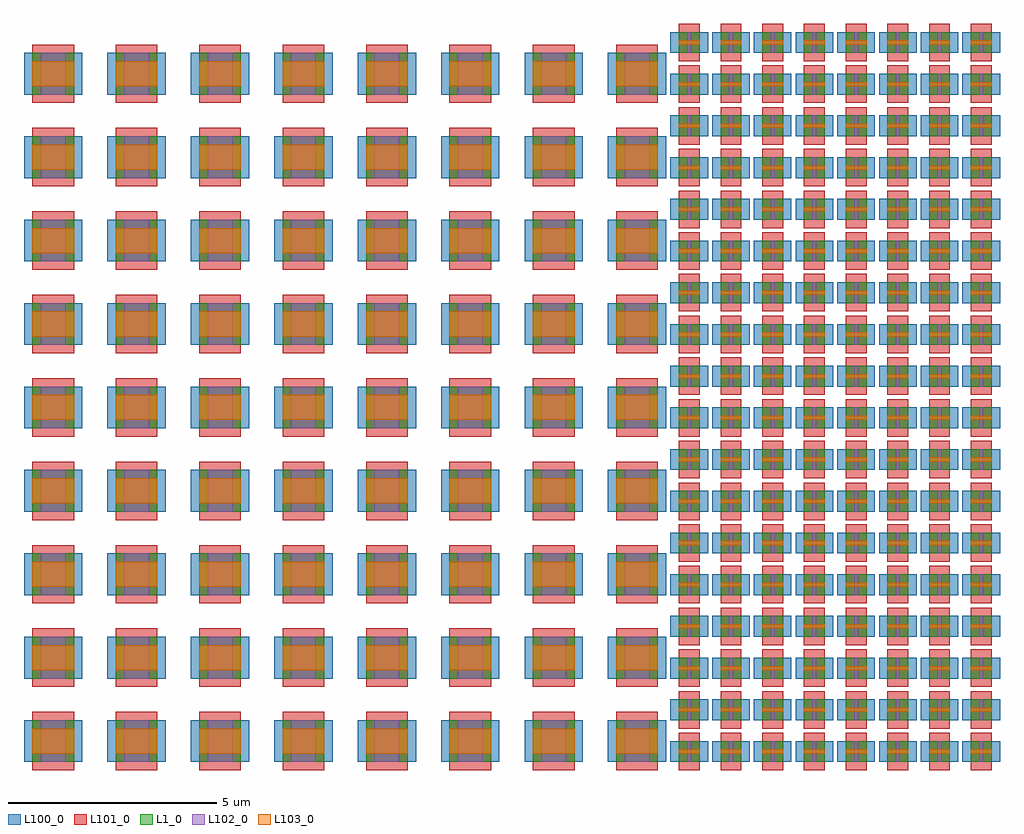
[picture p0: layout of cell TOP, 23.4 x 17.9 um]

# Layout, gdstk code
from math import pi, radians
import gdstk
lib = gdstk.Library(unit=1e-6, precision=1e-09)
def R(c, l, rs):  # rectangles x0, y0, x1, y1
    for r in rs: c.add(gdstk.rectangle(r[:2], r[2:], *l))
def A(c, l, x, y, w, h, nx, ny, dx, dy):  # array of equal rectangles
    R(c, l, [(x+i*dx, y+j*dy, x+i*dx+w, y+j*dy+h) for i in range(nx) for j in range(ny)])
L1_0 = (1, 0)
L100_0 = (100, 0)
L101_0 = (101, 0)
L102_0 = (102, 0)
L103_0 = (103, 0)

c_c1 = lib.new_cell('C1')
R(c_c1, L1_0, [(0,0,1,1), (0,2,1,3)])
c_c1.add(gdstk.Label('C1', (0.4,1.4), layer=1, texttype=0))

c_c2 = lib.new_cell('C2')
R(c_c2, L1_0, [(0,0,2,2), (0,4,2,6)])
c_c2.add(gdstk.Label('C2', (0.8,2.8), layer=1, texttype=0))

c_c4 = lib.new_cell('C4')
R(c_c4, L1_0, [(0,0,4,4), (0,8,4,12)])
c_c4.add(gdstk.Label('C4', (2,6), layer=1, texttype=0))

cc1 = lib.new_cell('CC1')
R(cc1, L1_0, [(4,4,5,5), (4,6,5,7)])
cc1.add(gdstk.Reference(c_c1, (0,0)))
cc1.add(gdstk.Reference(c_c1, (0,4)))
cc1.add(gdstk.Reference(c_c1, (6,4)))
cc1.add(gdstk.Reference(c_c1, (6,0)))
cc1.add(gdstk.Reference(c_c2, (2,0), magnification=0.5))
cc1.add(gdstk.Reference(c_c4, (4,0), magnification=0.25))
cc1.add(gdstk.Reference(c_c4, (2,4), magnification=0.25))
cc1.add(gdstk.Label('CC1', (3.4,3.4), layer=1, texttype=0))

cc2 = lib.new_cell('CC2')
A(cc2, L1_0, 0, 16, 1, 1, 8, 1, 2, 0)
cc2.add(gdstk.Reference(cc1, (0,0)))
cc2.add(gdstk.Reference(cc1, (0,8)))
cc2.add(gdstk.Reference(cc1, (15,0), rotation=pi, x_reflection=True))
cc2.add(gdstk.Reference(cc1, (15,15), rotation=3*pi/2, x_reflection=True))

c1_1 = lib.new_cell('C1$1')
R(c1_1, L100_0, [(-0.4,0,1.4,1), (-0.4,2,1.4,3)])
R(c1_1, L101_0, [(0,-0.4,1,1.4), (0,1.6,1,3.4)])
R(c1_1, L102_0, [(0.4,0,0.6,1), (0.4,2,0.6,3)])
R(c1_1, L103_0, [(0,0.4,1,0.6), (0,2.4,1,2.6)])

c2_1 = lib.new_cell('C2$1')
R(c2_1, L100_0, [(-0.8,0,2.8,2), (-0.8,4,2.8,6)])
R(c2_1, L101_0, [(0,-0.8,2,2.8), (0,3.2,2,6.8)])
R(c2_1, L102_0, [(0.8,0,1.2,2), (0.8,4,1.2,6)])
R(c2_1, L103_0, [(0,0.8,2,1.2), (0,4.8,2,5.2)])

c4_1 = lib.new_cell('C4$1')
R(c4_1, L100_0, [(-1.6,0,5.6,4), (-1.6,8,5.6,12)])
R(c4_1, L101_0, [(0,-1.6,4,5.6), (0,6.4,4,13.6)])
R(c4_1, L102_0, [(1.6,0,2.4,4), (1.6,8,2.4,12)])
R(c4_1, L103_0, [(0,1.6,4,2.4), (0,9.6,4,10.4)])

cc1_1 = lib.new_cell('CC1$1')
R(cc1_1, L100_0, [(3.6,4,5.4,5), (3.6,6,5.4,7)])
R(cc1_1, L101_0, [(4,3.6,5,5.4), (4,5.6,5,7.4)])
R(cc1_1, L102_0, [(4.4,4,4.6,5), (4.4,6,4.6,7)])
R(cc1_1, L103_0, [(4,4.4,5,4.6), (4,6.4,5,6.6)])
cc1_1.add(gdstk.Reference(c1_1, (0,0)))
cc1_1.add(gdstk.Reference(c1_1, (0,4)))
cc1_1.add(gdstk.Reference(c1_1, (6,4)))
cc1_1.add(gdstk.Reference(c1_1, (6,0)))
cc1_1.add(gdstk.Reference(c2_1, (2,0), magnification=0.5))
cc1_1.add(gdstk.Reference(c4_1, (4,0), magnification=0.25))
cc1_1.add(gdstk.Reference(c4_1, (2,4), magnification=0.25))

c4_var2 = lib.new_cell('C4$VAR2')
R(c4_var2, L100_0, [(0,-1.6,4,5.6), (0,6.4,4,13.6)])
R(c4_var2, L101_0, [(-1.6,0,5.6,4), (-1.6,8,5.6,12)])
R(c4_var2, L102_0, [(0,1.6,4,2.4), (0,9.6,4,10.4)])
R(c4_var2, L103_0, [(1.6,0,2.4,4), (1.6,8,2.4,12)])

c2_var2 = lib.new_cell('C2$VAR2')
R(c2_var2, L100_0, [(0,-0.8,2,2.8), (0,3.2,2,6.8)])
R(c2_var2, L101_0, [(-0.8,0,2.8,2), (-0.8,4,2.8,6)])
R(c2_var2, L102_0, [(0,0.8,2,1.2), (0,4.8,2,5.2)])
R(c2_var2, L103_0, [(0.8,0,1.2,2), (0.8,4,1.2,6)])

c1_var2 = lib.new_cell('C1$VAR2')
R(c1_var2, L100_0, [(0,-0.4,1,1.4), (0,1.6,1,3.4)])
R(c1_var2, L101_0, [(-0.4,0,1.4,1), (-0.4,2,1.4,3)])
R(c1_var2, L102_0, [(0,0.4,1,0.6), (0,2.4,1,2.6)])
R(c1_var2, L103_0, [(0.4,0,0.6,1), (0.4,2,0.6,3)])

cc1_var2 = lib.new_cell('CC1$VAR2')
R(cc1_var2, L100_0, [(4,3.6,5,5.4), (4,5.6,5,7.4)])
R(cc1_var2, L101_0, [(3.6,4,5.4,5), (3.6,6,5.4,7)])
R(cc1_var2, L102_0, [(4,4.4,5,4.6), (4,6.4,5,6.6)])
R(cc1_var2, L103_0, [(4.4,4,4.6,5), (4.4,6,4.6,7)])
cc1_var2.add(gdstk.Reference(c4_var2, (4,0), magnification=0.25))
cc1_var2.add(gdstk.Reference(c4_var2, (2,4), magnification=0.25))
cc1_var2.add(gdstk.Reference(c2_var2, (2,0), magnification=0.5))
cc1_var2.add(gdstk.Reference(c1_var2, (0,0)))
cc1_var2.add(gdstk.Reference(c1_var2, (0,4)))
cc1_var2.add(gdstk.Reference(c1_var2, (6,4)))
cc1_var2.add(gdstk.Reference(c1_var2, (6,0)))

cc2_1 = lib.new_cell('CC2$1')
A(cc2_1, L100_0, -0.4, 16, 1.8, 1, 8, 1, 2, 0)
A(cc2_1, L101_0, 0, 15.6, 1, 1.8, 8, 1, 2, 0)
A(cc2_1, L102_0, 0.4, 16, 0.2, 1, 8, 1, 2, 0)
A(cc2_1, L103_0, 0, 16.4, 1, 0.2, 8, 1, 2, 0)
cc2_1.add(gdstk.Reference(cc1_1, (0,0)))
cc2_1.add(gdstk.Reference(cc1_1, (0,8)))
cc2_1.add(gdstk.Reference(cc1_1, (15,0), rotation=pi, x_reflection=True))
cc2_1.add(gdstk.Reference(cc1_var2, (15,15), rotation=3*pi/2, x_reflection=True))

c4_var1 = lib.new_cell('C4$VAR1')
R(c4_var1, L100_0, [(-0.8,0,4.8,4), (-0.8,8,4.8,12)])
R(c4_var1, L101_0, [(0,-0.8,4,4.8), (0,7.2,4,12.8)])
R(c4_var1, L102_0, [(0.8,0,3.2,4), (0.8,8,3.2,12)])
R(c4_var1, L103_0, [(0,0.8,4,3.2), (0,8.8,4,11.2)])

c2_var1 = lib.new_cell('C2$VAR1')
R(c2_var1, L100_0, [(-0.4,0,2.4,2), (-0.4,4,2.4,6)])
R(c2_var1, L101_0, [(0,-0.4,2,2.4), (0,3.6,2,6.4)])
R(c2_var1, L102_0, [(0.4,0,1.6,2), (0.4,4,1.6,6)])
R(c2_var1, L103_0, [(0,0.4,2,1.6), (0,4.4,2,5.6)])

c1_var1 = lib.new_cell('C1$VAR1')
R(c1_var1, L100_0, [(-0.2,0,1.2,1), (-0.2,2,1.2,3)])
R(c1_var1, L101_0, [(0,-0.2,1,1.2), (0,1.8,1,3.2)])
R(c1_var1, L102_0, [(0.2,0,0.8,1), (0.2,2,0.8,3)])
R(c1_var1, L103_0, [(0,0.2,1,0.8), (0,2.2,1,2.8)])

cc1_var1 = lib.new_cell('CC1$VAR1')
R(cc1_var1, L100_0, [(3.8,4,5.2,5), (3.8,6,5.2,7)])
R(cc1_var1, L101_0, [(4,3.8,5,5.2), (4,5.8,5,7.2)])
R(cc1_var1, L102_0, [(4.2,4,4.8,5), (4.2,6,4.8,7)])
R(cc1_var1, L103_0, [(4,4.2,5,4.8), (4,6.2,5,6.8)])
cc1_var1.add(gdstk.Reference(c4_var1, (4,0), magnification=0.25))
cc1_var1.add(gdstk.Reference(c4_var1, (2,4), magnification=0.25))
cc1_var1.add(gdstk.Reference(c2_var1, (2,0), magnification=0.5))
cc1_var1.add(gdstk.Reference(c1_var1, (0,0)))
cc1_var1.add(gdstk.Reference(c1_var1, (0,4)))
cc1_var1.add(gdstk.Reference(c1_var1, (6,4)))
cc1_var1.add(gdstk.Reference(c1_var1, (6,0)))

c4_var3 = lib.new_cell('C4$VAR3')
R(c4_var3, L100_0, [(0,-0.8,4,4.8), (0,7.2,4,12.8)])
R(c4_var3, L101_0, [(-0.8,0,4.8,4), (-0.8,8,4.8,12)])
R(c4_var3, L102_0, [(0,0.8,4,3.2), (0,8.8,4,11.2)])
R(c4_var3, L103_0, [(0.8,0,3.2,4), (0.8,8,3.2,12)])

c2_var3 = lib.new_cell('C2$VAR3')
R(c2_var3, L100_0, [(0,-0.4,2,2.4), (0,3.6,2,6.4)])
R(c2_var3, L101_0, [(-0.4,0,2.4,2), (-0.4,4,2.4,6)])
R(c2_var3, L102_0, [(0,0.4,2,1.6), (0,4.4,2,5.6)])
R(c2_var3, L103_0, [(0.4,0,1.6,2), (0.4,4,1.6,6)])

c1_var3 = lib.new_cell('C1$VAR3')
R(c1_var3, L100_0, [(0,-0.2,1,1.2), (0,1.8,1,3.2)])
R(c1_var3, L101_0, [(-0.2,0,1.2,1), (-0.2,2,1.2,3)])
R(c1_var3, L102_0, [(0,0.2,1,0.8), (0,2.2,1,2.8)])
R(c1_var3, L103_0, [(0.2,0,0.8,1), (0.2,2,0.8,3)])

cc1_var3 = lib.new_cell('CC1$VAR3')
R(cc1_var3, L100_0, [(4,3.8,5,5.2), (4,5.8,5,7.2)])
R(cc1_var3, L101_0, [(3.8,4,5.2,5), (3.8,6,5.2,7)])
R(cc1_var3, L102_0, [(4,4.2,5,4.8), (4,6.2,5,6.8)])
R(cc1_var3, L103_0, [(4.2,4,4.8,5), (4.2,6,4.8,7)])
cc1_var3.add(gdstk.Reference(c4_var3, (4,0), magnification=0.25))
cc1_var3.add(gdstk.Reference(c4_var3, (2,4), magnification=0.25))
cc1_var3.add(gdstk.Reference(c2_var3, (2,0), magnification=0.5))
cc1_var3.add(gdstk.Reference(c1_var3, (0,0)))
cc1_var3.add(gdstk.Reference(c1_var3, (0,4)))
cc1_var3.add(gdstk.Reference(c1_var3, (6,4)))
cc1_var3.add(gdstk.Reference(c1_var3, (6,0)))

cc2_var1 = lib.new_cell('CC2$VAR1')
A(cc2_var1, L100_0, -0.2, 16, 1.4, 1, 8, 1, 2, 0)
A(cc2_var1, L101_0, 0, 15.8, 1, 1.4, 8, 1, 2, 0)
A(cc2_var1, L102_0, 0.2, 16, 0.6, 1, 8, 1, 2, 0)
A(cc2_var1, L103_0, 0, 16.2, 1, 0.6, 8, 1, 2, 0)
cc2_var1.add(gdstk.Reference(cc1_var1, (0,0)))
cc2_var1.add(gdstk.Reference(cc1_var1, (0,8)))
cc2_var1.add(gdstk.Reference(cc1_var1, (15,0), rotation=pi, x_reflection=True))
cc2_var1.add(gdstk.Reference(cc1_var3, (15,15), rotation=3*pi/2, x_reflection=True))

top = lib.new_cell('TOP')
top.add(gdstk.Reference(cc2, (0,0)))
top.add(gdstk.Reference(cc2, (15.5,0), magnification=0.5))
top.add(gdstk.Reference(cc2, (15.5,9), magnification=0.5))
top.add(gdstk.Reference(cc2_1, (15.5,0), magnification=0.5))
top.add(gdstk.Reference(cc2_1, (15.5,9), magnification=0.5))
top.add(gdstk.Reference(cc2_var1, (0,0)))

lib.write_gds('TOP.gds')
